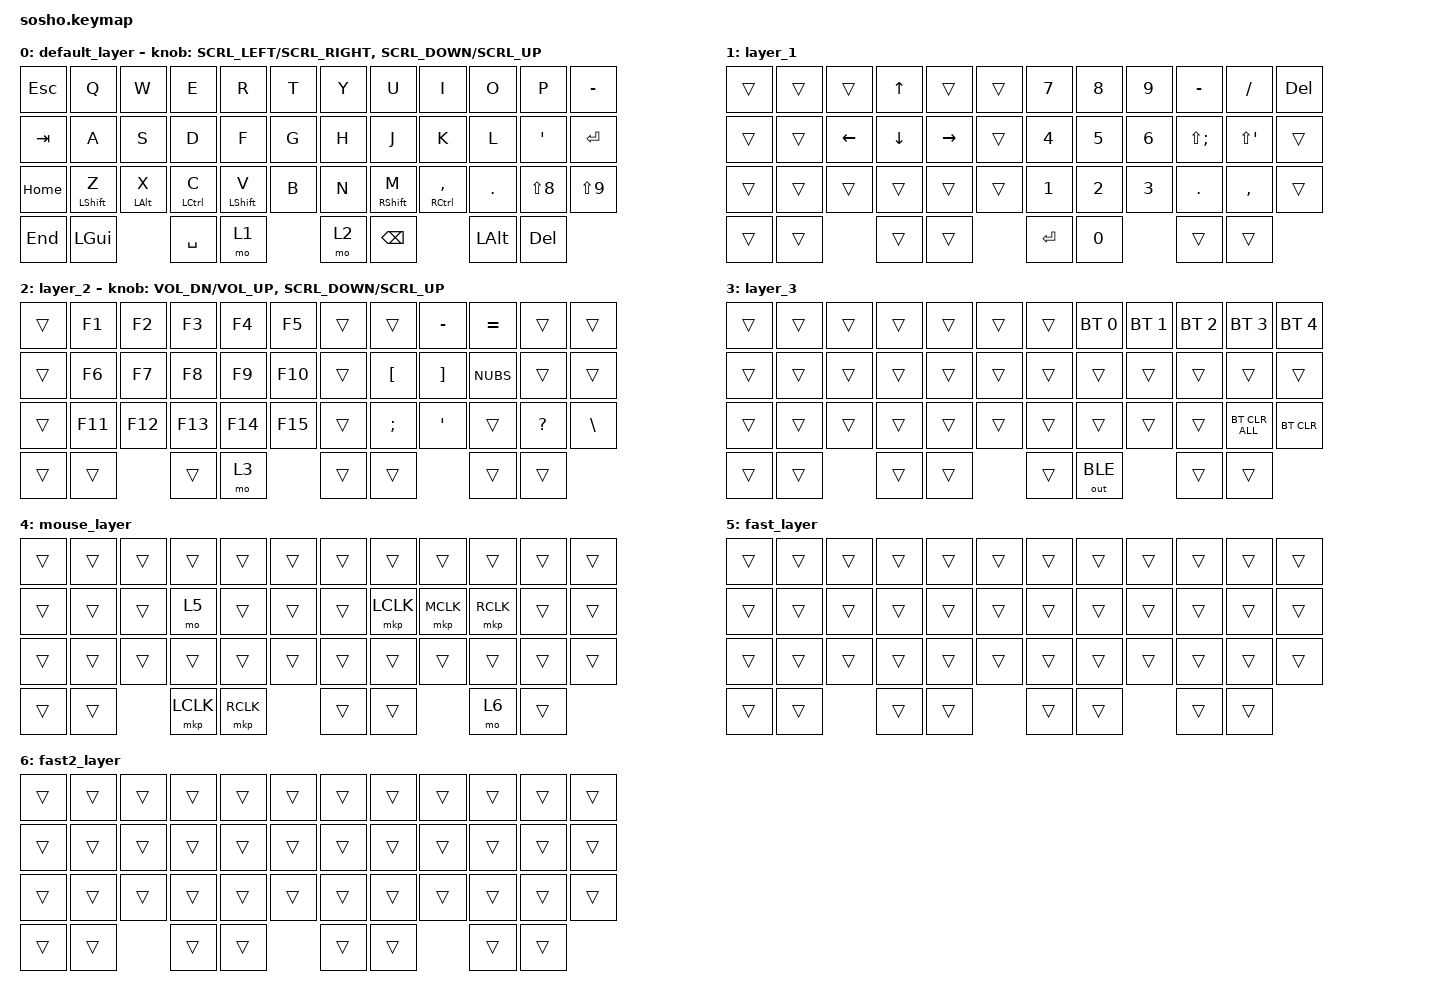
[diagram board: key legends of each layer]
//スクロール量の調整(デフォルト150)
#define ZMK_POINTING_DEFAULT_SCRL_VAL 150

#include <behaviors.dtsi>
#include <dt-bindings/zmk/bt.h>
#include <dt-bindings/zmk/keys.h>
#include <dt-bindings/zmk/pointing.h>
#include <dt-bindings/zmk/outputs.h>

//OS は JIS 配列(106キー)前提。記号のキーコードは JIS で出る文字に合わせてある
// : = SQT / ( = LS(N8) / ) = LS(N9) / + = LS(SEMI) / * = LS(SQT)

/ {
	behaviors {
        ec_ms_l: ec_ms_h {
            compatible = "zmk,behavior-encoder-mouse-scroll";
            #sensor-binding-cells = <2>;
        };
        ec_ms_r: ec_ms_v {
            compatible = "zmk,behavior-encoder-mouse-scroll";
            #sensor-binding-cells = <2>;
        };

		//タップで文字、長押しで修飾キー(Z/V/M=Shift、C/,=Ctrl、X=Alt)
		//打鍵中(直前150ms以内にキー入力あり)は必ず文字になる
        hm: tap_hold_mod {
            compatible = "zmk,behavior-hold-tap";
            #binding-cells = <2>;
            flavor = "balanced";
            tapping-term-ms = <200>;
            quick-tap-ms = <150>;
            require-prior-idle-ms = <150>;
            bindings = <&kp>, <&kp>;
        };
    };
};

//スクロールの調整
&msc {
    time-to-max-speed-ms = <0>;   // 即座に最大速度（加速なし）
    acceleration-exponent = <0>;   // 加速なし
};

/{
    combos {
        compatible = "zmk,combos";
		//D+F 同時押しで かな(カタカナひらがなキー → IMEオン)
	    combo_KANA {
            timeout-ms = <50>;
            key-positions = <15 16>;
            bindings = <&kp INT_KATAKANAHIRAGANA>;
            layers = <0>;
        };

		//J+K 同時押しで 英数(無変換キー → MS-IME の設定で IME-オフ を割り当てる)
        combo_EISU {
            timeout-ms = <50>;
            key-positions = <19 20>;
            bindings = <&kp INT_MUHENKAN>;
            layers = <0>;
        };

		//左下End(36)+右下Del(43) 同時押しで レイヤー3(Bluetooth)をオン、もう一度でオフ
        combo_BT {
            timeout-ms = <80>;
            key-positions = <36 43>;
            bindings = <&tog 3>;
            layers = <0 3>;
        };
    };
};

/{
keymap {
    compatible = "zmk,keymap";

    default_layer {
        bindings = <
            &kp ESC       &kp Q  &kp W          &kp E          &kp R  &kp T      &kp Y  &kp U          &kp I              &kp O    &kp P      &kp MINUS
            &kp TAB       &kp A  &kp S          &kp D          &kp F  &kp G      &kp H  &kp J          &kp K              &kp L    &kp SQT    &kp ENTER
            &kp HOME      &hm LSHFT Z    &hm LALT X  &hm LCTRL C    &hm LSHFT V    &kp B        &kp N  &hm RSHFT M    &hm RCTRL COMMA    &kp DOT  &kp LS(N8) &kp LS(N9)
            &kp END       &kp LGUI              &kp SPACE      &mo 1             &mo 2  &kp BSPC                          &kp LALT &kp DEL
        >;
		//&ec_ms_lとrは、上のビヘイビアで作ったもの。
        sensor-bindings = <&ec_ms_l SCRL_LEFT SCRL_RIGHT &ec_ms_r SCRL_DOWN SCRL_UP>;
    };

	//左手: 矢印(E=↑、S D F=← ↓ →) / 右手: テンキー
    layer_1 {
        bindings = <
            &trans    &trans &trans    &kp UP    &trans     &trans     &kp N7 &kp N8 &kp N9 &kp MINUS    &kp SLASH   &kp DEL
            &trans    &trans &kp LEFT  &kp DOWN  &kp RIGHT  &trans     &kp N4 &kp N5 &kp N6 &kp LS(SEMI) &kp LS(SQT) &trans
            &trans    &trans &trans    &trans    &trans     &trans     &kp N1 &kp N2 &kp N3 &kp DOT      &kp COMMA   &trans
            &trans    &trans                     &trans     &trans     &kp ENTER &kp N0                  &trans      &trans
        >;
    };

	//右親指(MO2)を押したまま左親指で レイヤー3(Bluetooth)
    layer_2 {
        bindings = <
            &trans &kp F1  &kp F2  &kp F3  &kp F4  &kp F5     &trans  &trans    &kp MINUS &kp EQUAL &trans     &trans
            &trans &kp F6  &kp F7  &kp F8  &kp F9  &kp F10    &trans  &kp LBKT  &kp RBKT  &kp NUBS  &trans     &trans
            &trans &kp F11 &kp F12 &kp F13 &kp F14 &kp F15    &trans  &kp SEMI  &kp SQT   &trans    &kp QMARK  &kp BSLH
            &trans &trans                  &trans  &mo 3      &trans  &trans                        &trans     &trans
        >;
		//レイヤー2のときだけ、左手のエンコーダを回すとボリュームの上下ができるようになっています。
		sensor-bindings = <&inc_dec_kp C_VOL_DN C_VOL_UP &ec_ms_r SCRL_DOWN SCRL_UP>;

    };

    layer_3 {
        bindings = <
            &trans &trans &trans &trans &trans &trans      &trans  &bt BT_SEL 0  &bt BT_SEL 1  &bt BT_SEL 2  &bt BT_SEL 3   &bt BT_SEL 4
            &trans &trans &trans &trans &trans &trans      &trans  &trans        &trans        &trans        &trans         &trans
            &trans &trans &trans &trans &trans &trans      &trans  &trans        &trans        &trans        &bt BT_CLR_ALL &bt BT_CLR
            &trans &trans               &trans &trans      &trans  &out OUT_BLE                                    &trans         &trans
        >;
    };

	//オートマウスレイヤー: 右トラックボールを動かすと有効になる(sosho_R_trackball.overlay で設定)
    mouse_layer {
        bindings = <
            &trans &trans &trans &trans    &trans    &trans      &trans  &trans  &trans     &trans     &trans     &trans
            &trans &trans &trans &mo 5     &trans    &trans      &trans  &mkp LCLK  &mkp MCLK  &mkp RCLK  &trans  &trans
            &trans &trans &trans &trans    &trans    &trans      &trans  &trans  &trans     &trans     &trans     &trans
            &trans &trans                  &mkp LCLK &mkp RCLK   &trans  &trans                        &mo 6      &trans
        >;
    };

	//高速ポインタ: マウスレイヤーで D を押している間だけ有効(速さは sosho_R_trackball.overlay で設定)
    fast_layer {
        bindings = <
            &trans &trans &trans &trans &trans &trans      &trans &trans &trans &trans &trans &trans
            &trans &trans &trans &trans &trans &trans      &trans &trans &trans &trans &trans &trans
            &trans &trans &trans &trans &trans &trans      &trans &trans &trans &trans &trans &trans
            &trans &trans               &trans &trans      &trans &trans               &trans &trans
        >;
    };

	//高速ポインタ2: マウスレイヤーで右クリックの下(位置42)を押している間だけ有効
    fast2_layer {
        bindings = <
            &trans &trans &trans &trans &trans &trans      &trans &trans &trans &trans &trans &trans
            &trans &trans &trans &trans &trans &trans      &trans &trans &trans &trans &trans &trans
            &trans &trans &trans &trans &trans &trans      &trans &trans &trans &trans &trans &trans
            &trans &trans               &trans &trans      &trans &trans               &trans &trans
        >;
    };

    extra2 {
        status = "reserved";
    };
};
};
